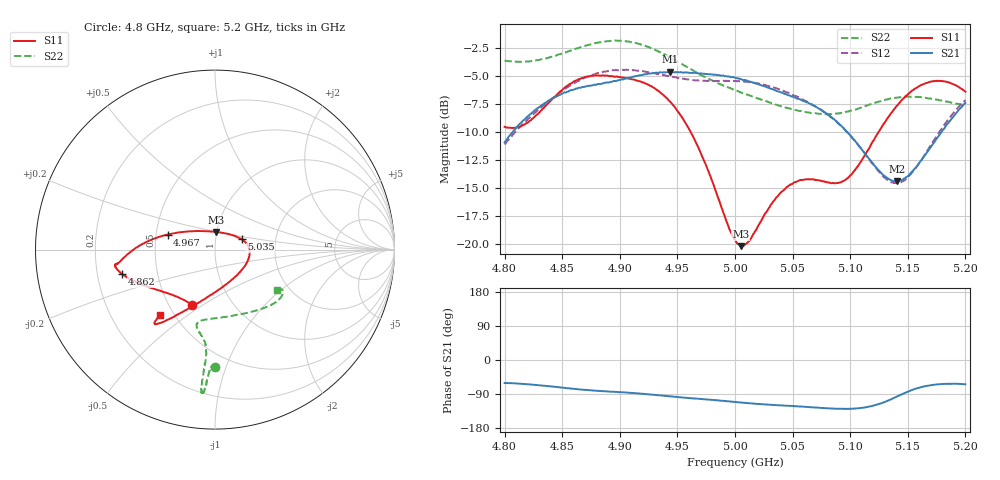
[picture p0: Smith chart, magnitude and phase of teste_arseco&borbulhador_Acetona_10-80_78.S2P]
! Network Analyzer HP8722D
! Hewlett-Packard
! Data name: Linha & Wilkinson
! Saver's name: Rodrigo Anjos
! Comments: Teste da utilização de aquisição
! continua pelo VNA HP8722D
! Time and date: 17/4/2025 15:00
!  Frequency  S11  S21  S12  S22
# HZ  S  MA R 50
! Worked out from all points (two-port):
!   401 points, 4.8 GHz to 5.2 GHz, reference 50 ohm
!   highest |S21| = -4.66 dB at 4.944 GHz (marker M1); lowest = -14.4 dB at 5.141 GHz (marker M2)
!   |S21| within 3 dB of the highest: 4.832 GHz to 5.068 GHz (236 MHz wide, 4.77 % of centre); 5.197863 GHz to end of sweep
!   lowest |S11| = -20.2 dB at 5.005 GHz (marker M3), VSWR 1.22, Z = 49.6 + j9.8 ohm
!   |S11| at or under -10 dB: 4.961 GHz to 5.125 GHz (163.3 MHz wide, 3.24 % of centre)
!   |S22| runs from -8.4 to -1.9 dB; largest |S21 - S12| = 0.88
!   S11 on the Smith chart (normalised r, x): 4.8 GHz: 0.65, -0.45; 4.862 GHz: 0.31, -0.12; 4.967 GHz: 0.57, +0.10; 5.035 GHz: 1.34, +0.16; 5.2 GHz: 0.42, -0.40
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4.8e9  0.3329 -112.9  0.2838 -60.7  0.2779 -174.8  0.6555 -89.9
4.819e9  0.3456 -132.8  0.3666 -63.7  0.3549 -173.3  0.6504 -91.4
4.862e9  0.5347 -165.2  0.4933 -76.3  0.5263 -176.4  0.742 -93.7
4.867e9  0.5486 -167.2  0.4993 -78.2  0.5425 -177.4  0.7558 -93.8
4.899e9  0.5544 -171.8  0.5359 -84.9  0.5952 175.8  0.804 -95.1
4.934e9  0.479 -177.8  0.5792 -93.3  0.5715 172.0  0.7179 -95.5
4.944e9  0.4294 177.7  0.5849 -96.0  0.5566 172.2  0.6779 -95.3
4.967e9  0.2776 162.4  0.577 -102.1  0.5359 174.2  0.5789 -94.7
5e9  0.1045 103.8  0.5503 -110.9  0.5319 176.4  0.4833 -99.1
5.005e9  0.09806 87.0  0.5435 -112.1  0.5291 176.5  0.473 -100.2
5.013e9  0.1047 61.1  0.5287 -114.2  0.5264 176.1  0.4586 -101.8
5.035e9  0.1592 21.5  0.4843 -119.0  0.4952 175.0  0.4184 -103.4
5.05e9  0.1862 6.0  0.4534 -121.6  0.4618 174.3  0.399 -99.8
5.067e9  0.1946 -12.2  0.4174 -124.7  0.4193 173.9  0.3834 -91.1
5.086e9  0.1871 -42.1  0.3603 -128.2  0.3578 173.7  0.3807 -76.8
5.097e9  0.1952 -64.9  0.3163 -129.0  0.3169 174.4  0.3884 -67.6
5.134e9  0.373 -115.7  0.1944 -105.5  0.1911 -158.5  0.444 -43.0
5.141e9  0.4158 -119.7  0.1903 -95.7  0.1875 -147.6  0.4489 -39.9
5.154e9  0.4837 -124.8  0.2112 -78.8  0.2095 -127.8  0.4529 -35.3
5.17e9  0.5295 -128.3  0.2708 -66.5  0.2768 -112.6  0.4446 -31.9
5.184e9  0.5271 -129.7  0.3419 -63.0  0.3523 -107.1  0.4313 -30.8
5.2e9  0.4772 -130.1  0.4255 -64.1  0.438 -106.1  0.4147 -33.1
